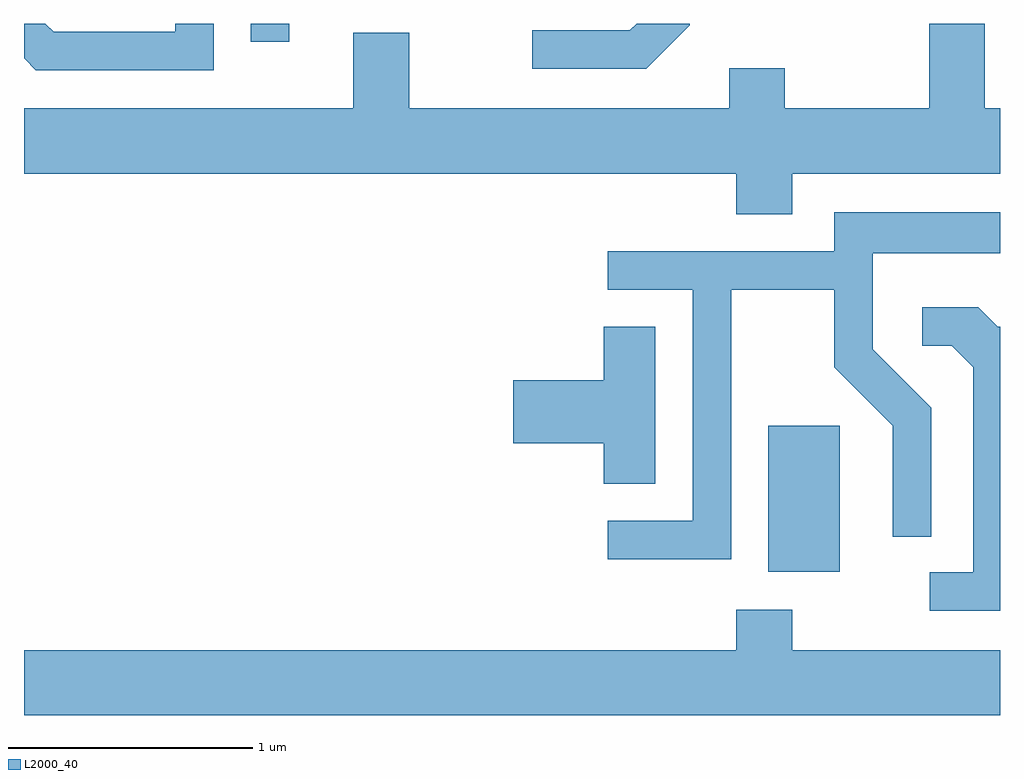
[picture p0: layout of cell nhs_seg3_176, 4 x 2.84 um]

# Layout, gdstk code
import gdstk
lib = gdstk.Library(unit=1e-6, precision=1e-09)
def R(c, l, rs):  # rectangles x0, y0, x1, y1
    for r in rs: c.add(gdstk.rectangle(r[:2], r[2:], *l))
def P(c, l, *ps):  # polygons
    for p in ps: c.add(gdstk.Polygon(p, *l))
L2000_40 = (2000, 40)

nhs_seg3_176 = lib.new_cell('nhs_seg3_176')
R(nhs_seg3_176, L2000_40, [(192.661,1197.646,192.954,1198.244), (190.541,1199.818,190.699,1199.892)])
P(nhs_seg3_176, L2000_40, [(192.759,1199.276),(193.611,1199.276),(193.611,1199.544),(193.549,1199.544),(193.549,1199.892),(193.321,1199.892),(193.321,1199.544),(192.729,1199.544),(192.729,1199.709),(192.501,1199.709),(192.501,1199.544),(191.189,1199.544),(191.189,1199.854),(190.961,1199.854),(190.961,1199.544),(189.611,1199.544),(189.611,1199.276),(192.531,1199.276),(192.531,1199.111),(192.759,1199.111)],
  [(192.339,1199.884),(192.339,1199.892),(192.122,1199.892),(192.094,1199.864),(191.693,1199.864),(191.693,1199.706),(192.162,1199.706)],
  [(190.389,1199.892),(190.231,1199.892),(190.231,1199.859),(189.732,1199.859),(189.699,1199.892),(189.611,1199.892),(189.611,1199.749),(189.659,1199.701),(190.389,1199.701)],
  [(192.509,1198.801),(192.931,1198.801),(192.931,1198.484),(193.171,1198.244),(193.171,1197.788),(193.329,1197.788),(193.329,1198.317),(193.089,1198.557),(193.089,1198.951),(193.611,1198.951),(193.611,1199.119),(192.931,1199.119),(192.931,1198.959),(192.003,1198.959),(192.003,1198.801),(192.351,1198.801),(192.351,1197.854),(192.003,1197.854),(192.003,1197.696),(192.509,1197.696)],
  [(193.611,1198.649),(193.602,1198.649),(193.522,1198.729),(193.293,1198.729),(193.293,1198.571),(193.414,1198.571),(193.501,1198.484),(193.501,1197.644),(193.323,1197.644),(193.323,1197.486),(193.611,1197.486)],
  [(192.199,1198.649),(191.986,1198.649),(191.986,1198.429),(191.616,1198.429),(191.616,1198.171),(191.986,1198.171),(191.986,1198.006),(192.199,1198.006)],
  [(193.611,1197.324),(192.759,1197.324),(192.759,1197.489),(192.531,1197.489),(192.531,1197.324),(189.611,1197.324),(189.611,1197.056),(193.611,1197.056)])

lib.write_gds('nhs_seg3_176.gds')
